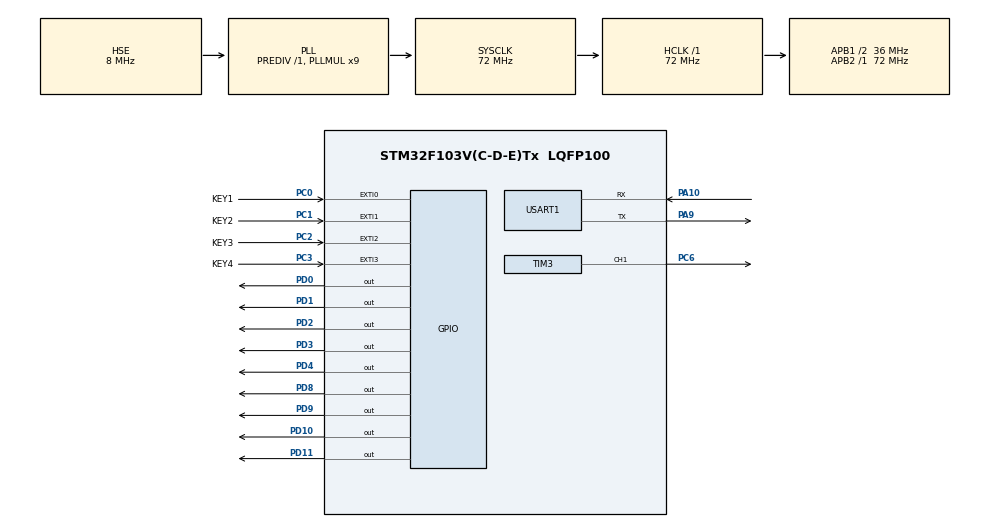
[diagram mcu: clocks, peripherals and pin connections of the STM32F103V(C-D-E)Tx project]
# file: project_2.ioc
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Dma.Request0=USART1_RX
Dma.USART1_RX.0.Direction=DMA_PERIPH_TO_MEMORY
Dma.USART1_RX.0.Instance=DMA1_Channel5
Dma.USART1_RX.0.MemDataAlignment=DMA_MDATAALIGN_BYTE
Dma.USART1_RX.0.MemInc=DMA_MINC_ENABLE
Dma.USART1_RX.0.Mode=DMA_NORMAL
Dma.USART1_RX.0.PeriphDataAlignment=DMA_PDATAALIGN_BYTE
Dma.USART1_RX.0.PeriphInc=DMA_PINC_DISABLE
Dma.USART1_RX.0.Priority=DMA_PRIORITY_LOW
Mcu.Family=STM32F1
Mcu.Name=STM32F103V(C-D-E)Tx
Mcu.Package=LQFP100
NVIC.DMA1_Channel5_IRQn=true\:0\:0\:false\:false\:true\:false\:true\:true
NVIC.EXTI0_IRQn=true\:2\:0\:true\:false\:true\:true\:true\:true
NVIC.EXTI1_IRQn=true\:2\:0\:true\:false\:true\:true\:true\:true
NVIC.EXTI2_IRQn=true\:2\:0\:true\:false\:true\:true\:true\:true
NVIC.EXTI3_IRQn=true\:2\:0\:true\:false\:true\:true\:true\:true
NVIC.PriorityGroup=NVIC_PRIORITYGROUP_4
NVIC.TIM3_IRQn=true\:0\:0\:true\:false\:true\:true\:true\:true
NVIC.TIM6_IRQn=true\:0\:0\:false\:false\:true\:true\:true\:true
NVIC.USART1_IRQn=true\:0\:0\:true\:false\:true\:true\:true\:true
OSC_IN.Mode=HSE-External-Oscillator
OSC_IN.Signal=RCC_OSC_IN
OSC_OUT.Mode=HSE-External-Oscillator
OSC_OUT.Signal=RCC_OSC_OUT
PA10.Mode=Asynchronous
PA10.Signal=USART1_RX
PA13.Mode=Serial_Wire
PA13.Signal=SYS_JTMS-SWDIO
PA14.Mode=Serial_Wire
PA14.Signal=SYS_JTCK-SWCLK
PA9.Mode=Asynchronous
PA9.Signal=USART1_TX
PC0.GPIO_Label=KEY1
PC0.GPIO_ModeDefaultEXTI=GPIO_MODE_IT_FALLING
PC0.GPIO_PuPd=GPIO_PULLUP
PC0.Signal=GPXTI0
PC1.GPIO_Label=KEY2
PC1.GPIO_ModeDefaultEXTI=GPIO_MODE_IT_FALLING
PC1.GPIO_PuPd=GPIO_PULLUP
PC1.Signal=GPXTI1
PC2.GPIO_Label=KEY3
PC2.GPIO_ModeDefaultEXTI=GPIO_MODE_IT_FALLING
PC2.GPIO_PuPd=GPIO_PULLUP
PC2.Signal=GPXTI2
PC3.GPIO_Label=KEY4
PC3.GPIO_ModeDefaultEXTI=GPIO_MODE_IT_FALLING
PC3.GPIO_PuPd=GPIO_PULLUP
PC3.Signal=GPXTI3
PC6.Signal=S_TIM3_CH1
PD0.GPIO_PuPd=GPIO_NOPULL
PD0.GPIO_Speed=GPIO_SPEED_FREQ_HIGH
PD0.PinState=GPIO_PIN_SET
PD0.Signal=GPIO_Output
PD1.GPIO_Speed=GPIO_SPEED_FREQ_HIGH
PD1.PinState=GPIO_PIN_SET
PD1.Signal=GPIO_Output
PD10.GPIO_Speed=GPIO_SPEED_FREQ_HIGH
PD10.PinState=GPIO_PIN_SET
PD10.Signal=GPIO_Output
PD11.GPIO_Speed=GPIO_SPEED_FREQ_HIGH
PD11.PinState=GPIO_PIN_SET
PD11.Signal=GPIO_Output
PD2.Signal=GPIO_Output
PD3.GPIO_Speed=GPIO_SPEED_FREQ_HIGH
PD3.PinState=GPIO_PIN_SET
PD3.Signal=GPIO_Output
PD4.GPIO_Speed=GPIO_SPEED_FREQ_HIGH
PD4.PinState=GPIO_PIN_SET
PD4.Signal=GPIO_Output
PD8.GPIO_Speed=GPIO_SPEED_FREQ_HIGH
PD8.PinState=GPIO_PIN_SET
PD8.Signal=GPIO_Output
PD9.GPIO_Speed=GPIO_SPEED_FREQ_HIGH
PD9.PinState=GPIO_PIN_SET
PD9.Signal=GPIO_Output
ProjectManager.HeapSize=0x200
ProjectManager.StackSize=0x1000
ProjectManager.TargetToolchain=MDK-ARM V5.32
RCC.AHBFreq_Value=72000000
RCC.APB1CLKDivider=RCC_HCLK_DIV2
RCC.APB1Freq_Value=36000000
RCC.APB1TimFreq_Value=72000000
RCC.APB2Freq_Value=72000000
RCC.APB2TimFreq_Value=72000000
RCC.EnbaleCSS=true
RCC.HCLKFreq_Value=72000000
RCC.PLLMUL=RCC_PLL_MUL9
RCC.PLLSourceVirtual=RCC_PLLSOURCE_HSE
RCC.SYSCLKFreq_VALUE=72000000
RCC.SYSCLKSource=RCC_SYSCLKSOURCE_PLLCLK
RCC.USBFreq_Value=72000000
SH.S_TIM3_CH1.0=TIM3_CH1,PWM Generation1 CH1
TIM3.AutoReloadPreload=TIM_AUTORELOAD_PRELOAD_ENABLE
TIM3.Channel-PWM\ Generation1\ CH1=TIM_CHANNEL_1
TIM3.Period=10000-1
TIM3.Prescaler=7199
TIM3.Pulse-PWM\ Generation1\ CH1=5000
TIM3.TIM_MasterOutputTrigger=TIM_TRGO_RESET
TIM6.Period=1000-1
TIM6.Prescaler=72-1
USART1.VirtualMode=VM_ASYNC
VP_TIM3_VS_ClockSourceINT.Mode=Internal
VP_TIM6_VS_ClockSourceINT.Mode=Enable_Timer
board=custom

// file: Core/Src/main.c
/* USER CODE BEGIN Header */
/**
  ******************************************************************************
  * @file           : main.c
  * @brief          : Main program body
  ******************************************************************************
  * @attention
  *
  * Copyright (c) 2023 STMicroelectronics.
  * All rights reserved.
  *
  * This software is licensed under terms that can be found in the LICENSE file
  * in the root directory of this software component.
  * If no LICENSE file comes with this software, it is provided AS-IS.
  *
  ******************************************************************************
  */
/* USER CODE END Header */
#include "main.h"
#include "dma.h"
#include "tim.h"
#include "usart.h"
#include "gpio.h"

/* USER CODE BEGIN Includes */
#include <stdio.h>
#include <stdlib.h>
#include "bsp_ili9341_lcd.h"
#include "lv_port_disp.h"
#include "lvgl.h"
#include "stm32f1xx_it.h"
/* USER CODE END Includes */

/* USER CODE BEGIN PD */
#define BUFF_SIZE	100
/* USER CODE END PD */

/* USER CODE BEGIN PV */
uint8_t rx_buff[BUFF_SIZE];
char str[20];
char str2[20];
char str3[20];
char str4[20];
uint8_t hour = 0;
uint8_t min =0 ;
uint8_t hour_set = 0;
uint8_t min_set =0 ;
uint8_t temp = 0;
uint8_t busy = 0;
/* USER CODE END PV */

void SystemClock_Config(void);

/* USER CODE BEGIN 0 */
#ifdef __GNUC__
     #define PUTCHAR_PROTOTYPE int _io_putchar(int ch)
 #else
     #define PUTCHAR_PROTOTYPE int fputc(int ch, FILE *f)
 #endif /* __GNUC__*/
/******************************************************************
     *@brief  Retargets the C library printf  function to the USART.
     *@param  None
     *@retval None
 ******************************************************************/
 PUTCHAR_PROTOTYPE
 {
     HAL_UART_Transmit(&huart1, (uint8_t *)&ch,1,0xFFFF);
     return ch;
 }

void Fake_clock(void)
{
	if(TimerCnt==60)	//60秒计时到达
	{
		min++;					//增加分钟数值
		TimerCnt=0;			//秒中断标志清零
	}
	else if(min==60)	//60分钟计时到达
	{
		hour++;				//增加小时数值
		min=0;				//分钟数值清零
	}
	else if(hour==24)	//24小时计时到达
	{
		hour=0;				//小时数归零
	}
}

static uint8_t char1[8];
static uint8_t char2[8];
/* USER CODE END 0 */

int main(void)
{

  /* MCU Configuration--------------------------------------------------------*/

  /* Reset of all peripherals, Initializes the Flash interface and the Systick. */
  HAL_Init();

  /* USER CODE BEGIN Init */
//	lv_init();                  // lvgl初始化，如果这个没有初始化，那么下面的初始化会崩溃
//	lv_port_disp_init();        // 显示器初始化
  /* USER CODE END Init */

  /* Configure the system clock */
  SystemClock_Config();

  /* Initialize all configured peripherals */
  MX_GPIO_Init();
  MX_DMA_Init();
  MX_TIM3_Init();
  MX_USART1_UART_Init();
  MX_TIM6_Init();
  /* USER CODE BEGIN 2 */
	HAL_UARTEx_ReceiveToIdle_DMA(&huart1, rx_buff, BUFF_SIZE);
	LCD_Init();		    //液晶初始化
	POINT_COLOR = BLUE;	//设置画笔的颜色
	LCD_Clear(WHITE);		//显示基本颜色
	Draw_Circle(119,159,100);
	Test_Show_CH_Font16(80,100,0,RED);
	Test_Show_CH_Font16(100,100,1,RED);
	Test_Show_CH_Font16(120,100,2,RED);
	Test_Show_CH_Font16(140,100,3,RED);
	//lvgl_first_demo_start();
  /* USER CODE END 2 */

  /* Infinite loop */
  /* USER CODE BEGIN WHILE */
  while (1)
  {
		HAL_DEBUG = 1;
		sprintf((char*)char1,"%02d:%02d:%02d",hour,min,TimerCnt);
		LCD_ShowString(90,150,char1);
		if(hour==hour_set&&min==min_set&&TimerCnt==0)	//设定时间到闹钟响
		{
			alarm_timeup();
			alarmed_flag = 1;
		}
			//lv_task_handler();    // 运行所有lvgl的timer
		switch(KEY_FALG)
		{
			case KEY1_ENABLE:								//调整小时
				printf("请输入小时\n");
				hour_adjust_flag = 1;
				busy=1;
				KEY_FALG = KEY_DISABLE;
			break;
			case KEY2_ENABLE:								//调整分钟
					printf("请输入分钟\n");
					min_adjust_flag = 1;
					busy=1;
					KEY_FALG = KEY_DISABLE;
			break;
			case KEY3_ENABLE:									//设置闹钟
					printf("闹钟设定，请输入闹钟时间（格式 hh-mm）：\n");
					alarm_adjust_flag = 1;
					busy=1;
					KEY_FALG = KEY_DISABLE;
			break;
			case KEY4_ENABLE:	//关闭闹钟
					if(alarmed_flag)
					{alarm_stop();
					printf("闹钟关闭\n");
					alarmed_flag=0;
					KEY_FALG = KEY_DISABLE;
					}
					else
					{
						KEY_FALG = KEY_DISABLE;
					}
					break;
			default:
						if(!busy)//每秒打印时间
					{
						printf("当前时间：%d%d:%d%d:%d%d\n",hour/10,hour%10,min/10,min%10,TimerCnt/10,TimerCnt%10);
						HAL_Delay(1000);
					}
				break;
		}

    /* USER CODE END WHILE */

  }
}

void SystemClock_Config(void)
{
  RCC_OscInitTypeDef RCC_OscInitStruct = {0};
  RCC_ClkInitTypeDef RCC_ClkInitStruct = {0};

  /** Initializes the RCC Oscillators according to the specified parameters
  * in the RCC_OscInitTypeDef structure.
  */
  RCC_OscInitStruct.OscillatorType = RCC_OSCILLATORTYPE_HSE;
  RCC_OscInitStruct.HSEState = RCC_HSE_ON;
  RCC_OscInitStruct.HSEPredivValue = RCC_HSE_PREDIV_DIV1;
  RCC_OscInitStruct.HSIState = RCC_HSI_ON;
  RCC_OscInitStruct.PLL.PLLState = RCC_PLL_ON;
  RCC_OscInitStruct.PLL.PLLSource = RCC_PLLSOURCE_HSE;
  RCC_OscInitStruct.PLL.PLLMUL = RCC_PLL_MUL9;
  if (HAL_RCC_OscConfig(&RCC_OscInitStruct) != HAL_OK)
  {
    Error_Handler();
  }

  /** Initializes the CPU, AHB and APB buses clocks
  */
  RCC_ClkInitStruct.ClockType = RCC_CLOCKTYPE_HCLK|RCC_CLOCKTYPE_SYSCLK
                              |RCC_CLOCKTYPE_PCLK1|RCC_CLOCKTYPE_PCLK2;
  RCC_ClkInitStruct.SYSCLKSource = RCC_SYSCLKSOURCE_PLLCLK;
  RCC_ClkInitStruct.AHBCLKDivider = RCC_SYSCLK_DIV1;
  RCC_ClkInitStruct.APB1CLKDivider = RCC_HCLK_DIV2;
  RCC_ClkInitStruct.APB2CLKDivider = RCC_HCLK_DIV1;

  if (HAL_RCC_ClockConfig(&RCC_ClkInitStruct, FLASH_LATENCY_2) != HAL_OK)
  {
    Error_Handler();
  }

  /** Enables the Clock Security System
  */
  HAL_RCC_EnableCSS();
}

/* USER CODE BEGIN 4 */
void HAL_UARTEx_RxEventCallback(UART_HandleTypeDef * huart, uint16_t Size)
{
    if(huart->Instance == USART1)
    {
        if (Size <= BUFF_SIZE)
        {
            HAL_UARTEx_ReceiveToIdle_DMA(&huart1, rx_buff, BUFF_SIZE); // 接收完毕后重启
						if(hour_adjust_flag)
						{
								sprintf(str, "%s", rx_buff);
								temp=atoi(str);
								if(temp>23)
								{
									temp=0;
									printf("set error：please input again\n");
								}
								else
								{
									hour = temp;
									HAL_UART_Transmit(&huart1, rx_buff, Size, 0xffff);         // 将接收到的数据再发出
									temp=0;
									busy=0;
									TimerCnt=0;
									hour_adjust_flag = 0;

								}
							}
						 else if(min_adjust_flag)
							{
								sprintf(str, "%s", rx_buff);
								temp=atoi(str);
								if(temp>59)
								{
									temp=0;
									printf("set error：please input again\n");
								}
								else
								{
									min = temp;
									HAL_UART_Transmit(&huart1, rx_buff, Size, 0xffff);         // 将接收到的数据再发出
									temp=0;
									busy=0;
									TimerCnt=0;
									min_adjust_flag = 0;
								}
							}
						else if(alarm_adjust_flag)
						{		int temp1,temp2;
							sprintf(str, "%s", rx_buff);
							strncpy(str2,str,2);
							strncpy(str3,str+3,2);
							strncpy(str4,str+2,1);
							temp1=atoi(str2);
							temp2=atoi(str3);
							if(!(memcmp(str4,"-",sizeof("-"))==0))
							{
								printf("format error：please input again\n");
							}
							else if(temp1>23)
							{
								printf("format error：please input again\n");
								temp1=0;
							}
							else if(temp2>59)
							{
								printf("format error：please input again\n");
								temp1=0;
								temp2=0;
							}
							else
							{
								hour_set= temp1;
								min_set = temp2;
								printf("alarm_set\n");
								HAL_UART_Transmit(&huart1, rx_buff, Size, 0xffff);         // 将接收到的数据再发出
								temp1=0;
								temp2=0;
								busy=0;
								alarm_adjust_flag = 0;
							}
						}
						else
						{
							printf("command error：please input again\n");
						}
          memset(rx_buff, 0, BUFF_SIZE);							   // 清除接收缓存
        }
        else  // 接收数据长度大于BUFF_SIZE，错误处理
        {

        }
    }
}

void HAL_UART_ErrorCallback(UART_HandleTypeDef * huart)
{
    if(huart->Instance == USART1)
    {
		HAL_UARTEx_ReceiveToIdle_DMA(&huart1, rx_buff, BUFF_SIZE); // 接收发生错误后重启
		memset(rx_buff, 0, BUFF_SIZE);							   // 清除接收缓存

    }
}

/* USER CODE END 4 */

void Error_Handler(void)
{
  __disable_irq();
  while (1)
  {
  }
}
